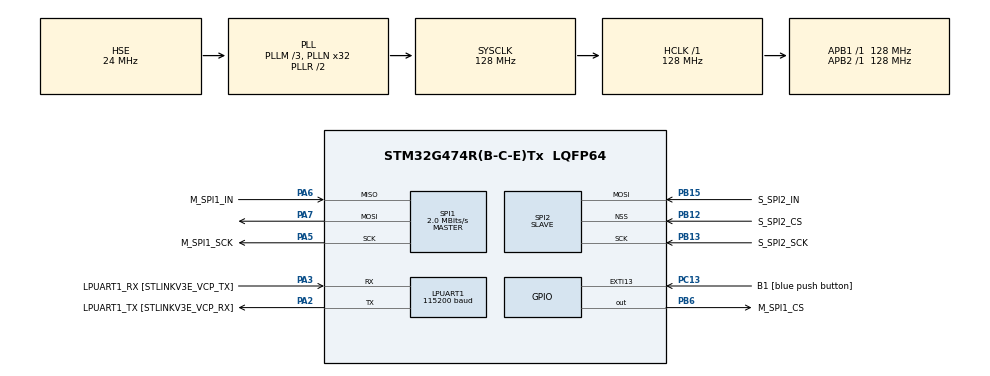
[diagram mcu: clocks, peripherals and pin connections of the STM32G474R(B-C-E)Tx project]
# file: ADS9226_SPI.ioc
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LPUART1.BaudRate=115200
LPUART1.WordLength=UART_WORDLENGTH_8B
Mcu.Family=STM32G4
Mcu.Name=STM32G474R(B-C-E)Tx
Mcu.Package=LQFP64
NVIC.EXTI15_10_IRQn=true\:0\:0\:false\:false\:true\:true\:true
NVIC.PriorityGroup=NVIC_PRIORITYGROUP_4
NVIC.TIM6_DAC_IRQn=true\:0\:0\:false\:false\:true\:true\:true
PA13.GPIO_Label=T_SWDIO
PA13.Mode=Serial_Wire
PA13.Signal=SYS_JTMS-SWDIO
PA14.GPIO_Label=T_SWCLK
PA14.Mode=Serial_Wire
PA14.Signal=SYS_JTCK-SWCLK
PA2.GPIO_Label=LPUART1_TX [STLINKV3E_VCP_RX]
PA2.Mode=Asynchronous
PA2.Signal=LPUART1_TX
PA3.GPIO_Label=LPUART1_RX [STLINKV3E_VCP_TX]
PA3.Mode=Asynchronous
PA3.Signal=LPUART1_RX
PA5.GPIO_Label=M_SPI1_SCK
PA5.GPIO_PuPd=GPIO_PULLUP
PA5.GPIO_Speed=GPIO_SPEED_FREQ_HIGH
PA5.Mode=Full_Duplex_Master
PA5.Signal=SPI1_SCK
PA6.GPIO_Label=M_SPI1_IN
PA6.GPIO_PuPd=GPIO_PULLUP
PA6.GPIO_Speed=GPIO_SPEED_FREQ_HIGH
PA6.Mode=Full_Duplex_Master
PA6.Signal=SPI1_MISO
PA7.GPIO_PuPd=GPIO_PULLUP
PA7.GPIO_Speed=GPIO_SPEED_FREQ_HIGH
PA7.Mode=Full_Duplex_Master
PA7.Signal=SPI1_MOSI
PB12.GPIO_Label=S_SPI2_CS
PB12.GPIO_PuPd=GPIO_PULLUP
PB12.GPIO_Speed=GPIO_SPEED_FREQ_HIGH
PB12.Mode=NSS_Signal_Hard_Input
PB12.Signal=SPI2_NSS
PB13.GPIO_Label=S_SPI2_SCK
PB13.GPIO_PuPd=GPIO_PULLUP
PB13.GPIO_Speed=GPIO_SPEED_FREQ_HIGH
PB13.Mode=RX_Only_Simplex_Unidirect_Slave
PB13.Signal=SPI2_SCK
PB15.GPIO_Label=S_SPI2_IN
PB15.GPIO_PuPd=GPIO_PULLUP
PB15.GPIO_Speed=GPIO_SPEED_FREQ_HIGH
PB15.Mode=RX_Only_Simplex_Unidirect_Slave
PB15.Signal=SPI2_MOSI
PB3.GPIO_Label=T_SWO
PB3.Signal=SYS_JTDO-SWO
PB6.GPIO_Label=M_SPI1_CS
PB6.GPIO_PuPd=GPIO_PULLUP
PB6.GPIO_Speed=GPIO_SPEED_FREQ_HIGH
PB6.PinState=GPIO_PIN_SET
PB6.Signal=GPIO_Output
PC13.GPIO_Label=B1 [blue push button]
PC13.Signal=GPXTI13
PC14-OSC32_IN.Mode=LSE-External-Oscillator
PC14-OSC32_IN.Signal=RCC_OSC32_IN
PC15-OSC32_OUT.Mode=LSE-External-Oscillator
PC15-OSC32_OUT.Signal=RCC_OSC32_OUT
PF0-OSC_IN.Mode=HSE-External-Oscillator
PF0-OSC_IN.Signal=RCC_OSC_IN
PF1-OSC_OUT.Mode=HSE-External-Oscillator
PF1-OSC_OUT.Signal=RCC_OSC_OUT
ProjectManager.HeapSize=0x200
ProjectManager.StackSize=0x400
ProjectManager.TargetToolchain=STM32CubeIDE
RCC.ADC12Freq_Value=128000000
RCC.ADC345Freq_Value=128000000
RCC.AHBFreq_Value=128000000
RCC.APB1Freq_Value=128000000
RCC.APB1TimFreq_Value=128000000
RCC.APB2Freq_Value=128000000
RCC.APB2TimFreq_Value=128000000
RCC.CortexFreq_Value=128000000
RCC.EXTERNAL_CLOCK_VALUE=12288000
RCC.HCLKFreq_Value=128000000
RCC.HSE_VALUE=24000000
RCC.HSI48_VALUE=48000000
RCC.HSI_VALUE=16000000
RCC.PLLM=RCC_PLLM_DIV3
RCC.PLLN=32
RCC.PLLSourceVirtual=RCC_PLLSOURCE_HSE
RCC.RTCClockSelection=RCC_RTCCLKSOURCE_LSE
RCC.SYSCLKFreq_VALUE=128000000
RCC.SYSCLKSource=RCC_SYSCLKSOURCE_PLLCLK
RCC.USBFreq_Value=128000000
RCC.VCOOutputFreq_Value=256000000
SPI1.BaudRatePrescaler=SPI_BAUDRATEPRESCALER_64
SPI1.CLKPolarity=SPI_POLARITY_HIGH
SPI1.CalculateBaudRate=2.0 MBits/s
SPI1.DataSize=SPI_DATASIZE_8BIT
SPI1.Direction=SPI_DIRECTION_2LINES
SPI1.Mode=SPI_MODE_MASTER
SPI1.VirtualType=VM_MASTER
SPI2.CLKPolarity=SPI_POLARITY_HIGH
SPI2.DataSize=SPI_DATASIZE_8BIT
SPI2.Direction=SPI_DIRECTION_2LINES_RXONLY
SPI2.Mode=SPI_MODE_SLAVE
SPI2.VirtualNSS=VM_NSSHARD
SPI2.VirtualType=VM_SLAVE
TIM6.PeriodNoDither=100-1
TIM6.Prescaler=100-1
VP_SYS_VS_DBSignals.Mode=DisableDeadBatterySignals
VP_TIM6_VS_ClockSourceINT.Mode=Enable_Timer
board=NUCLEO-G474RE

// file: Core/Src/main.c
/* USER CODE BEGIN Header */
/**
 ******************************************************************************
 * @file           : main.c
 * @brief          : Main program body
 ******************************************************************************
 * @attention
 *
 * <h2><center>&copy; Copyright (c) 2021 STMicroelectronics.
 * All rights reserved.</center></h2>
 *
 * This software component is licensed by ST under BSD 3-Clause license,
 * the "License"; You may not use this file except in compliance with the
 * License. You may obtain a copy of the License at:
 *                        opensource.org/licenses/BSD-3-Clause
 *
 ******************************************************************************
 */
/* USER CODE END Header */
#include "main.h"
#include "usart.h"
#include "spi.h"
#include "tim.h"
#include "gpio.h"

/* USER CODE BEGIN PV */

//转换�?始，拉低片�?�的标志
uint8_t CS_EN_Flag = 0;

//存储两路SPI读取到的数据
uint8_t data0 = 0;
uint8_t data1 = 0;

/* USER CODE END PV */

void SystemClock_Config(void);

int main(void)
{
  /* USER CODE BEGIN 1 */

  //读取状�??
  HAL_StatusTypeDef ADS9226_State = ADS9226_OK;

  /* USER CODE END 1 */

  /* MCU Configuration--------------------------------------------------------*/

  /* Reset of all peripherals, Initializes the Flash interface and the Systick. */
  HAL_Init();

  /* Configure the system clock */
  SystemClock_Config();

  /* Initialize all configured peripherals */
  MX_GPIO_Init();
  MX_LPUART1_UART_Init();
  MX_TIM6_Init();
  MX_SPI1_Init();
  MX_SPI2_Init();
  /* USER CODE BEGIN 2 */

  HAL_TIM_Base_Start_IT(&htim6);        //启动定时器TIM6,用做片�?�的时间

  /* USER CODE END 2 */

  /* Infinite loop */
	while (1) {

    /* USER CODE BEGIN 3 */
		if (CS_EN_Flag == 1) {

			ADS9226_State = ADS9226_Read(&data0,&data1,0xffff);

			printf("data0: %d data1: %d  ", data0, data1);
			printf("ADS9226 State: %d \r\n", ADS9226_State);

			//data1 = 255;
			//data2 = 0; //sum=43690
			uint16_t sum = add((uint16_t)data1, (uint16_t)data0);
			printf("data1+data0: %d \r\n\r\n", sum);
			int16_t code = sum;
		    printf("CODE: %d \r\n", code);
		    double AINP_AINM = 2.5*code/32768;
		    //double AINP = AINP_AINM + 2.5;
		    //double Vin = 2.5 - AINP;
		    double Vin = -AINP_AINM;
		    printf("Vin: %f \r\n\r\n", Vin);

			CS_EN_Flag = 0;
		}

	}
  /* USER CODE END 3 */
}

void SystemClock_Config(void)
{
  RCC_OscInitTypeDef RCC_OscInitStruct = {0};
  RCC_ClkInitTypeDef RCC_ClkInitStruct = {0};
  RCC_PeriphCLKInitTypeDef PeriphClkInit = {0};

  /** Configure the main internal regulator output voltage
  */
  HAL_PWREx_ControlVoltageScaling(PWR_REGULATOR_VOLTAGE_SCALE1);
  /** Initializes the RCC Oscillators according to the specified parameters
  * in the RCC_OscInitTypeDef structure.
  */
  RCC_OscInitStruct.OscillatorType = RCC_OSCILLATORTYPE_HSE;
  RCC_OscInitStruct.HSEState = RCC_HSE_ON;
  RCC_OscInitStruct.PLL.PLLState = RCC_PLL_ON;
  RCC_OscInitStruct.PLL.PLLSource = RCC_PLLSOURCE_HSE;
  RCC_OscInitStruct.PLL.PLLM = RCC_PLLM_DIV3;
  RCC_OscInitStruct.PLL.PLLN = 32;
  RCC_OscInitStruct.PLL.PLLP = RCC_PLLP_DIV2;
  RCC_OscInitStruct.PLL.PLLQ = RCC_PLLQ_DIV2;
  RCC_OscInitStruct.PLL.PLLR = RCC_PLLR_DIV2;
  if (HAL_RCC_OscConfig(&RCC_OscInitStruct) != HAL_OK)
  {
    Error_Handler();
  }
  /** Initializes the CPU, AHB and APB buses clocks
  */
  RCC_ClkInitStruct.ClockType = RCC_CLOCKTYPE_HCLK|RCC_CLOCKTYPE_SYSCLK
                              |RCC_CLOCKTYPE_PCLK1|RCC_CLOCKTYPE_PCLK2;
  RCC_ClkInitStruct.SYSCLKSource = RCC_SYSCLKSOURCE_PLLCLK;
  RCC_ClkInitStruct.AHBCLKDivider = RCC_SYSCLK_DIV1;
  RCC_ClkInitStruct.APB1CLKDivider = RCC_HCLK_DIV1;
  RCC_ClkInitStruct.APB2CLKDivider = RCC_HCLK_DIV1;

  if (HAL_RCC_ClockConfig(&RCC_ClkInitStruct, FLASH_LATENCY_3) != HAL_OK)
  {
    Error_Handler();
  }
  /** Initializes the peripherals clocks
  */
  PeriphClkInit.PeriphClockSelection = RCC_PERIPHCLK_LPUART1;
  PeriphClkInit.Lpuart1ClockSelection = RCC_LPUART1CLKSOURCE_PCLK1;
  if (HAL_RCCEx_PeriphCLKConfig(&PeriphClkInit) != HAL_OK)
  {
    Error_Handler();
  }
}

void Error_Handler(void)
{
	__disable_irq();
	while (1) {
	}
}

/************************ (C) COPYRIGHT STMicroelectronics *****END OF FILE****/
